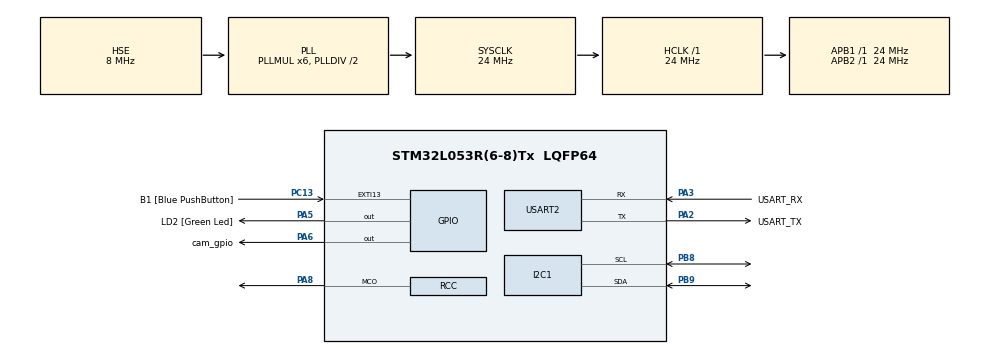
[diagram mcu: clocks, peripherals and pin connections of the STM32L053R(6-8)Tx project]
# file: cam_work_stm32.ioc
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I2C1.Timing=0x00506682
Mcu.Family=STM32L0
Mcu.Name=STM32L053R(6-8)Tx
Mcu.Package=LQFP64
PA13.GPIO_Label=TMS
PA13.Mode=Serial_Wire
PA13.Signal=SYS_SWDIO
PA14.GPIO_Label=TCK
PA14.Mode=Serial_Wire
PA14.Signal=SYS_SWCLK
PA2.GPIO_Label=USART_TX
PA2.Mode=Asynchronous
PA2.Signal=USART2_TX
PA3.GPIO_Label=USART_RX
PA3.Mode=Asynchronous
PA3.Signal=USART2_RX
PA5.GPIO_Label=LD2 [Green Led]
PA5.Signal=GPIO_Output
PA6.GPIO_Label=cam_gpio
PA6.Signal=GPIO_Output
PA8.GPIO_Speed=GPIO_SPEED_FREQ_VERY_HIGH
PA8.Mode=Clock-out
PA8.Signal=RCC_MCO
PB8.Mode=I2C
PB8.Signal=I2C1_SCL
PB9.Mode=I2C
PB9.Signal=I2C1_SDA
PC13.GPIO_Label=B1 [Blue PushButton]
PC13.GPIO_ModeDefaultEXTI=GPIO_MODE_IT_FALLING
PC13.Signal=GPXTI13
PC14-OSC32_IN.Mode=LSE-External-Oscillator
PC14-OSC32_IN.Signal=RCC_OSC32_IN
PC15-OSC32_OUT.Mode=LSE-External-Oscillator
PC15-OSC32_OUT.Signal=RCC_OSC32_OUT
PH0-OSC_IN.Mode=HSE-External-Clock-Source
PH0-OSC_IN.Signal=RCC_OSC_IN
ProjectManager.HeapSize=0x200
ProjectManager.StackSize=0x400
ProjectManager.TargetToolchain=TrueSTUDIO
RCC.AHBFreq_Value=24000000
RCC.APB1Freq_Value=24000000
RCC.APB1TimFreq_Value=24000000
RCC.APB2Freq_Value=24000000
RCC.APB2TimFreq_Value=24000000
RCC.HCLKFreq_Value=24000000
RCC.HSE_VALUE=8000000
RCC.HSI16_VALUE=16000000
RCC.HSI48_VALUE=48000000
RCC.HSI_VALUE=16000000
RCC.MSI_VALUE=2097000
RCC.PLLMUL=RCC_PLLMUL_6
RCC.PLLSourceVirtual=RCC_PLLSOURCE_HSE
RCC.SYSCLKFreq_VALUE=24000000
RCC.SYSCLKSource=RCC_SYSCLKSOURCE_PLLCLK
RCC.VCOOutputFreq_Value=48000000
USART2.VirtualMode-Asynchronous=VM_ASYNC
USART2.WordLength=WORDLENGTH_8B
board=NUCLEO-L053R8

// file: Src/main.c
/**
  ******************************************************************************
  * File Name          : main.c
  * Description        : Main program body
  ******************************************************************************
  ** This notice applies to any and all portions of this file
  * that are not between comment pairs USER CODE BEGIN and
  * USER CODE END. Other portions of this file, whether
  * inserted by the user or by software development tools
  * are owned by their respective copyright owners.
  *
  * COPYRIGHT(c) 2017 STMicroelectronics
  *
  * Redistribution and use in source and binary forms, with or without modification,
  * are permitted provided that the following conditions are met:
  *   1. Redistributions of source code must retain the above copyright notice,
  *      this list of conditions and the following disclaimer.
  *   2. Redistributions in binary form must reproduce the above copyright notice,
  *      this list of conditions and the following disclaimer in the documentation
  *      and/or other materials provided with the distribution.
  *   3. Neither the name of STMicroelectronics nor the names of its contributors
  *      may be used to endorse or promote products derived from this software
  *      without specific prior written permission.
  *
  * THIS SOFTWARE IS PROVIDED BY THE COPYRIGHT HOLDERS AND CONTRIBUTORS "AS IS"
  * AND ANY EXPRESS OR IMPLIED WARRANTIES, INCLUDING, BUT NOT LIMITED TO, THE
  * IMPLIED WARRANTIES OF MERCHANTABILITY AND FITNESS FOR A PARTICULAR PURPOSE ARE
  * DISCLAIMED. IN NO EVENT SHALL THE COPYRIGHT HOLDER OR CONTRIBUTORS BE LIABLE
  * FOR ANY DIRECT, INDIRECT, INCIDENTAL, SPECIAL, EXEMPLARY, OR CONSEQUENTIAL
  * DAMAGES (INCLUDING, BUT NOT LIMITED TO, PROCUREMENT OF SUBSTITUTE GOODS OR
  * SERVICES; LOSS OF USE, DATA, OR PROFITS; OR BUSINESS INTERRUPTION) HOWEVER
  * CAUSED AND ON ANY THEORY OF LIABILITY, WHETHER IN CONTRACT, STRICT LIABILITY,
  * OR TORT (INCLUDING NEGLIGENCE OR OTHERWISE) ARISING IN ANY WAY OUT OF THE USE
  * OF THIS SOFTWARE, EVEN IF ADVISED OF THE POSSIBILITY OF SUCH DAMAGE.
  *
  ******************************************************************************
  */
#include "main.h"
#include "stm32l0xx_hal.h"

I2C_HandleTypeDef hi2c1;

UART_HandleTypeDef huart2;

/* USER CODE BEGIN PV */
/* Private variables ---------------------------------------------------------*/

/* USER CODE END PV */

void SystemClock_Config(void);
static void MX_GPIO_Init(void);
static void MX_USART2_UART_Init(void);
static void MX_I2C1_Init(void);

/* USER CODE BEGIN PFP */
/* Private function prototypes -----------------------------------------------*/

/* USER CODE END PFP */

/* USER CODE BEGIN 0 */
int _write(int fd, char *str, int len){
	HAL_UART_Transmit(&huart2, (uint8_t *)str, len, 100);
	return len;
}

/* USER CODE END 0 */

int main(void)
{

  /* MCU Configuration----------------------------------------------------------*/

  /* Reset of all peripherals, Initializes the Flash interface and the Systick. */
  HAL_Init();

  /* Configure the system clock */
  SystemClock_Config();

  /* Initialize all configured peripherals */
  MX_GPIO_Init();
  MX_USART2_UART_Init();
  MX_I2C1_Init();

  /* USER CODE BEGIN 2 */
  printf("STM32 Omnivision SCCB Protocol Demo\r\n");
  HAL_GPIO_WritePin(cam_gpio_GPIO_Port, cam_gpio_Pin, GPIO_PIN_RESET);
  HAL_Delay(100);
  HAL_GPIO_WritePin(cam_gpio_GPIO_Port, cam_gpio_Pin, GPIO_PIN_SET);
  HAL_Delay(100);

  printf("Probing camera...");
	if(HAL_I2C_IsDeviceReady(&hi2c1, 0x006C,0x03,500) == HAL_OK){
		printf("Detected!\r\n");
	}else{
		printf("Not Detected!\r\n");
	}

  /* USER CODE END 2 */

  /* Infinite loop */
  while (1)
  {

  /* USER CODE BEGIN 3 */
	  HAL_GPIO_TogglePin(LD2_GPIO_Port, LD2_Pin);
	  HAL_Delay(250);
  }
  /* USER CODE END 3 */

}

/** System Clock Configuration
*/
void SystemClock_Config(void)
{

  RCC_OscInitTypeDef RCC_OscInitStruct;
  RCC_ClkInitTypeDef RCC_ClkInitStruct;
  RCC_PeriphCLKInitTypeDef PeriphClkInit;

    /**Configure the main internal regulator output voltage
    */
  __HAL_PWR_VOLTAGESCALING_CONFIG(PWR_REGULATOR_VOLTAGE_SCALE1);

    /**Initializes the CPU, AHB and APB busses clocks
    */
  RCC_OscInitStruct.OscillatorType = RCC_OSCILLATORTYPE_HSE;
  RCC_OscInitStruct.HSEState = RCC_HSE_BYPASS;
  RCC_OscInitStruct.PLL.PLLState = RCC_PLL_ON;
  RCC_OscInitStruct.PLL.PLLSource = RCC_PLLSOURCE_HSE;
  RCC_OscInitStruct.PLL.PLLMUL = RCC_PLLMUL_6;
  RCC_OscInitStruct.PLL.PLLDIV = RCC_PLLDIV_2;
  if (HAL_RCC_OscConfig(&RCC_OscInitStruct) != HAL_OK)
  {
    _Error_Handler(__FILE__, __LINE__);
  }

    /**Initializes the CPU, AHB and APB busses clocks
    */
  RCC_ClkInitStruct.ClockType = RCC_CLOCKTYPE_HCLK|RCC_CLOCKTYPE_SYSCLK
                              |RCC_CLOCKTYPE_PCLK1|RCC_CLOCKTYPE_PCLK2;
  RCC_ClkInitStruct.SYSCLKSource = RCC_SYSCLKSOURCE_PLLCLK;
  RCC_ClkInitStruct.AHBCLKDivider = RCC_SYSCLK_DIV1;
  RCC_ClkInitStruct.APB1CLKDivider = RCC_HCLK_DIV1;
  RCC_ClkInitStruct.APB2CLKDivider = RCC_HCLK_DIV1;

  if (HAL_RCC_ClockConfig(&RCC_ClkInitStruct, FLASH_LATENCY_1) != HAL_OK)
  {
    _Error_Handler(__FILE__, __LINE__);
  }

  PeriphClkInit.PeriphClockSelection = RCC_PERIPHCLK_USART2|RCC_PERIPHCLK_I2C1;
  PeriphClkInit.Usart2ClockSelection = RCC_USART2CLKSOURCE_PCLK1;
  PeriphClkInit.I2c1ClockSelection = RCC_I2C1CLKSOURCE_PCLK1;
  if (HAL_RCCEx_PeriphCLKConfig(&PeriphClkInit) != HAL_OK)
  {
    _Error_Handler(__FILE__, __LINE__);
  }

  HAL_RCC_MCOConfig(RCC_MCO1, RCC_MCO1SOURCE_SYSCLK, RCC_MCODIV_1);

    /**Configure the Systick interrupt time
    */
  HAL_SYSTICK_Config(HAL_RCC_GetHCLKFreq()/1000);

    /**Configure the Systick
    */
  HAL_SYSTICK_CLKSourceConfig(SYSTICK_CLKSOURCE_HCLK);

  /* SysTick_IRQn interrupt configuration */
  HAL_NVIC_SetPriority(SysTick_IRQn, 0, 0);
}

/* I2C1 init function */
static void MX_I2C1_Init(void)
{

  hi2c1.Instance = I2C1;
  hi2c1.Init.Timing = 0x00506682;
  hi2c1.Init.OwnAddress1 = 0;
  hi2c1.Init.AddressingMode = I2C_ADDRESSINGMODE_7BIT;
  hi2c1.Init.DualAddressMode = I2C_DUALADDRESS_DISABLE;
  hi2c1.Init.OwnAddress2 = 0;
  hi2c1.Init.OwnAddress2Masks = I2C_OA2_NOMASK;
  hi2c1.Init.GeneralCallMode = I2C_GENERALCALL_DISABLE;
  hi2c1.Init.NoStretchMode = I2C_NOSTRETCH_DISABLE;
  if (HAL_I2C_Init(&hi2c1) != HAL_OK)
  {
    _Error_Handler(__FILE__, __LINE__);
  }

    /**Configure Analogue filter
    */
  if (HAL_I2CEx_ConfigAnalogFilter(&hi2c1, I2C_ANALOGFILTER_ENABLE) != HAL_OK)
  {
    _Error_Handler(__FILE__, __LINE__);
  }

    /**Configure Digital filter
    */
  if (HAL_I2CEx_ConfigDigitalFilter(&hi2c1, 0) != HAL_OK)
  {
    _Error_Handler(__FILE__, __LINE__);
  }

}

/* USART2 init function */
static void MX_USART2_UART_Init(void)
{

  huart2.Instance = USART2;
  huart2.Init.BaudRate = 115200;
  huart2.Init.WordLength = UART_WORDLENGTH_8B;
  huart2.Init.StopBits = UART_STOPBITS_1;
  huart2.Init.Parity = UART_PARITY_NONE;
  huart2.Init.Mode = UART_MODE_TX_RX;
  huart2.Init.HwFlowCtl = UART_HWCONTROL_NONE;
  huart2.Init.OverSampling = UART_OVERSAMPLING_16;
  huart2.Init.OneBitSampling = UART_ONE_BIT_SAMPLE_DISABLE;
  huart2.AdvancedInit.AdvFeatureInit = UART_ADVFEATURE_NO_INIT;
  if (HAL_UART_Init(&huart2) != HAL_OK)
  {
    _Error_Handler(__FILE__, __LINE__);
  }

}

/** Configure pins as
        * Analog
        * Input
        * Output
        * EVENT_OUT
        * EXTI
     PA8   ------> RCC_MCO
*/
static void MX_GPIO_Init(void)
{

  GPIO_InitTypeDef GPIO_InitStruct;

  /* GPIO Ports Clock Enable */
  __HAL_RCC_GPIOC_CLK_ENABLE();
  __HAL_RCC_GPIOH_CLK_ENABLE();
  __HAL_RCC_GPIOA_CLK_ENABLE();
  __HAL_RCC_GPIOB_CLK_ENABLE();

  /*Configure GPIO pin Output Level */
  HAL_GPIO_WritePin(GPIOA, LD2_Pin|cam_gpio_Pin, GPIO_PIN_RESET);

  /*Configure GPIO pin : B1_Pin */
  GPIO_InitStruct.Pin = B1_Pin;
  GPIO_InitStruct.Mode = GPIO_MODE_IT_FALLING;
  GPIO_InitStruct.Pull = GPIO_NOPULL;
  HAL_GPIO_Init(B1_GPIO_Port, &GPIO_InitStruct);

  /*Configure GPIO pins : LD2_Pin cam_gpio_Pin */
  GPIO_InitStruct.Pin = LD2_Pin|cam_gpio_Pin;
  GPIO_InitStruct.Mode = GPIO_MODE_OUTPUT_PP;
  GPIO_InitStruct.Pull = GPIO_NOPULL;
  GPIO_InitStruct.Speed = GPIO_SPEED_FREQ_LOW;
  HAL_GPIO_Init(GPIOA, &GPIO_InitStruct);

  /*Configure GPIO pin : PA8 */
  GPIO_InitStruct.Pin = GPIO_PIN_8;
  GPIO_InitStruct.Mode = GPIO_MODE_AF_PP;
  GPIO_InitStruct.Pull = GPIO_NOPULL;
  GPIO_InitStruct.Speed = GPIO_SPEED_FREQ_VERY_HIGH;
  GPIO_InitStruct.Alternate = GPIO_AF0_MCO;
  HAL_GPIO_Init(GPIOA, &GPIO_InitStruct);

}

void _Error_Handler(char * file, int line)
{
  while(1)
  {
  }
}

/************************ (C) COPYRIGHT STMicroelectronics *****END OF FILE****/
